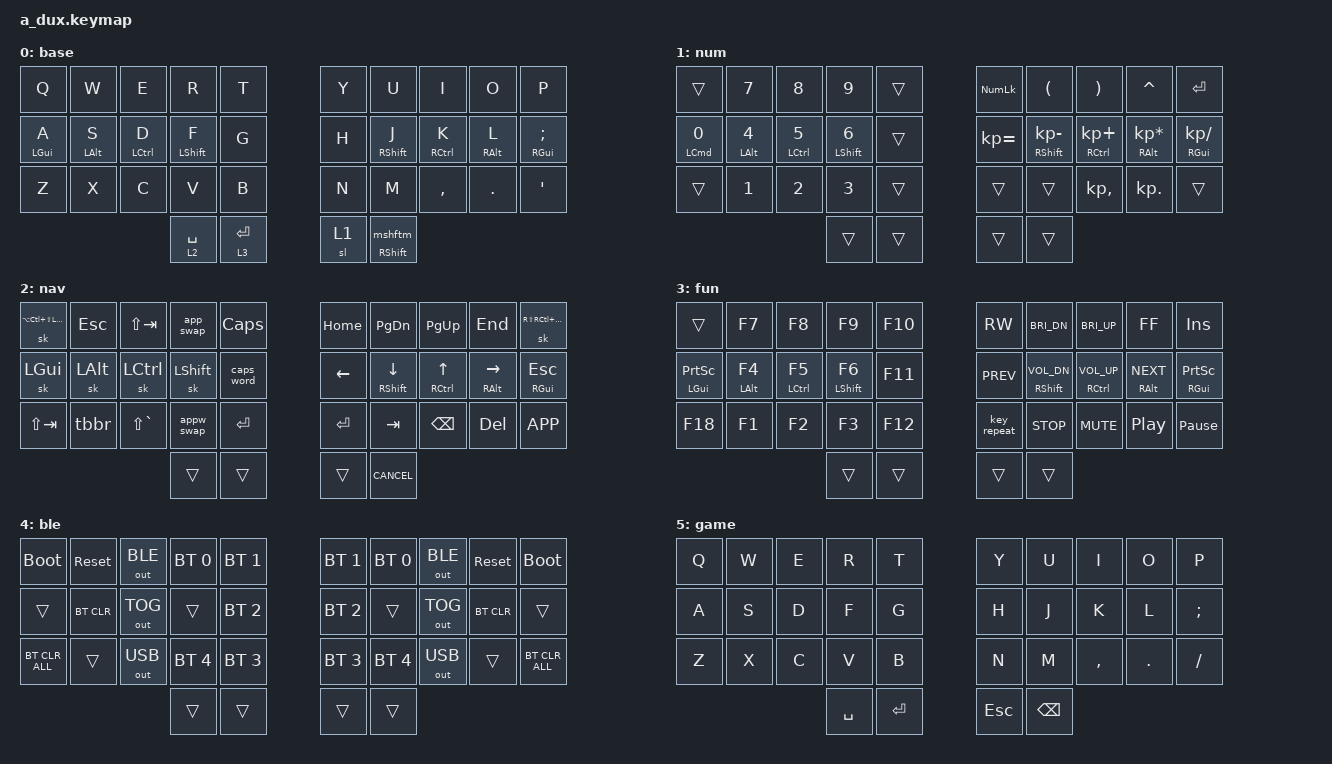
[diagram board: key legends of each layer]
// Copyright (c) 2024 The ZMK Contributors
// SPDX-License-Identifier: MIT

#include <behaviors.dtsi>
#include <dt-bindings/zmk/bt.h>
#include <dt-bindings/zmk/keys.h>
#include <dt-bindings/zmk/outputs.h>

#define QT_MS 180
#define HMR_RPI_MS 175
#define HCMB_RPI_MS 150
#define HCMB_MS 25
#define VCMB_RPI_MS 50
#define VCMB_MS 35
#define TCMB_RPI_MS 50
#define TCMB_MS 25
#define LHYPER LA(LC(LS(LGUI)))
#define RHYPER RS(RC(RA(RGUI)))

#define MSHFT &mshft RSHFT 0
#define LNG F18

&lt {
    tapping-term-ms = <180>;
    quick-tap-ms = <160>;
};

&sk {
    release-after-ms = <900>;
    quick-release;
};

/ {
    behaviors {
        lpht: left_positional_hold_tap {
            compatible = "zmk,behavior-hold-tap";
            #binding-cells = <2>;
            bindings = <&kp>, <&kp>;

            flavor = "tap-preferred";
            tapping-term-ms = <220>;
            quick-tap-ms = <QT_MS>;
            require-prior-idle-ms = <HMR_RPI_MS>;
            hold-trigger-key-positions = <5 6 7 8 9 15 16 17 18 19 25 26 27 28 29 32 33>;
            hold-trigger-on-release;
        };

        rpht: right_positional_hold_tap {
            compatible = "zmk,behavior-hold-tap";
            #binding-cells = <2>;
            bindings = <&kp>, <&kp>;

            flavor = "tap-preferred";
            tapping-term-ms = <220>;
            quick-tap-ms = <QT_MS>;
            require-prior-idle-ms = <HMR_RPI_MS>;
            hold-trigger-key-positions = <0 1 2 3 4 10 11 12 13 14 20 21 22 23 24 30 31>;
            hold-trigger-on-release;
        };

        mshftm: magic_shift_morph {
            compatible = "zmk,behavior-mod-morph";
            #binding-cells = <0>;
            bindings = <&sk RSHFT>, <&caps_word>;
            mods = <(MOD_RSFT)>;
        };

        mshft: magic_shift {
            compatible = "zmk,behavior-hold-tap";
            #binding-cells = <2>;
            bindings = <&kp>, <&mshftm>;

            flavor = "balanced";
            tapping-term-ms = <200>;
            quick-tap-ms = <160>;
            require-prior-idle-ms = <HMR_RPI_MS>;
        };
    };

    app_swap: app_swapper {
        compatible = "zmk,behavior-tri-state";
        #binding-cells = <0>;
        bindings = <&kt LGUI>, <&kp TAB>, <&kt LGUI>;

        ignored-key-positions = <2 16 17 18 19>;
    };

    appw_swap: app_win_swapper {
        compatible = "zmk,behavior-tri-state";
        #binding-cells = <0>;
        bindings = <&kt LGUI>, <&kp GRAVE>, <&kt LGUI>;

        ignored-key-positions = <22 16 17 18 19>;
    };

    tbbr: tabber {
        compatible = "zmk,behavior-tri-state";
        #binding-cells = <0>;
        bindings = <&kt LCTRL>, <&kp TAB>, <&kt LCTRL>;

        ignored-key-positions = <6 16 17 18 19>;
    };

    combos {
        compatible = "zmk,combos";

        c_esc       { bindings = <&kp ESC>;       key-positions = <1 2>;   require-prior-idle-ms = <HCMB_RPI_MS>;  timeout-ms = <HCMB_MS>; };
        c_grave     { bindings = <&kp GRAVE>;     key-positions = <2 3>;   require-prior-idle-ms = <HCMB_RPI_MS>;  timeout-ms = <HCMB_MS>; };
        c_tab       { bindings = <&kp TAB>;       key-positions = <6 7>;   require-prior-idle-ms = <HCMB_RPI_MS>;  timeout-ms = <HCMB_MS>; };
        c_caps      { bindings = <&kp CAPS>;      key-positions = <7 8>;   require-prior-idle-ms = <HCMB_RPI_MS>;  timeout-ms = <HCMB_MS>; };
        c_bslh      { bindings = <&kp BSLH>;      key-positions = <11 12>; require-prior-idle-ms = <HCMB_RPI_MS>;  timeout-ms = <HCMB_MS>; };
        c_equal     { bindings = <&kp EQUAL>;     key-positions = <11 13>; require-prior-idle-ms = <HCMB_RPI_MS>;  timeout-ms = <HCMB_MS>; };
        c_lpar      { bindings = <&kp LPAR>;      key-positions = <12 13>; require-prior-idle-ms = <HCMB_RPI_MS>;  timeout-ms = <HCMB_MS>; };
        c_rlang     { bindings = <&kp LNG>;       key-positions = <12 30>; require-prior-idle-ms = <TCMB_RPI_MS>;  timeout-ms = <TCMB_MS>; };
        c_rpar      { bindings = <&kp RPAR>;      key-positions = <16 17>; require-prior-idle-ms = <HCMB_RPI_MS>;  timeout-ms = <HCMB_MS>; };
        c_minus     { bindings = <&kp MINUS>;     key-positions = <16 18>; require-prior-idle-ms = <HCMB_RPI_MS>;  timeout-ms = <HCMB_MS>; };
        c_fslh      { bindings = <&kp FSLH>;      key-positions = <17 18>; require-prior-idle-ms = <HCMB_RPI_MS>;  timeout-ms = <HCMB_MS>; };
        c_llang     { bindings = <&kp LNG>;       key-positions = <17 33>; require-prior-idle-ms = <TCMB_RPI_MS>;  timeout-ms = <TCMB_MS>; };
        c_del       { bindings = <&kp DEL>;       key-positions = <21 22>; require-prior-idle-ms = <HCMB_RPI_MS>;  timeout-ms = <HCMB_MS>; };
        c_lbkt      { bindings = <&kp LBKT>;      key-positions = <22 23>; require-prior-idle-ms = <HCMB_RPI_MS>;  timeout-ms = <HCMB_MS>; };
        c_llange    { bindings = <&kp LNG>;       key-positions = <21 23>; require-prior-idle-ms = <HCMB_RPI_MS>;  timeout-ms = <HCMB_MS>; };
        c_rbkt      { bindings = <&kp RBKT>;      key-positions = <26 27>; require-prior-idle-ms = <HCMB_RPI_MS>;  timeout-ms = <HCMB_MS>; };
        c_bspc      { bindings = <&kp BSPC>;      key-positions = <27 28>; require-prior-idle-ms = <HCMB_RPI_MS>;  timeout-ms = <HCMB_MS>; };
        c_rlange    { bindings = <&kp LNG>;       key-positions = <26 28>; require-prior-idle-ms = <HCMB_RPI_MS>;  timeout-ms = <HCMB_MS>; };
        c_lgame     { bindings = <&tog 5>;        key-positions = <20 24>; require-prior-idle-ms = <HCMB_RPI_MS>;  timeout-ms = <HCMB_MS>; };
        c_rgame     { bindings = <&tog 5>;        key-positions = <25 29>; require-prior-idle-ms = <HCMB_RPI_MS>;  timeout-ms = <HCMB_MS>; };
        c_lhyper    { bindings = <&sk LHYPER>;    key-positions = <12 14>; require-prior-idle-ms = <HCMB_RPI_MS>;  timeout-ms = <HCMB_MS>; };
        c_rhyper    { bindings = <&sk RHYPER>;    key-positions = <15 17>; require-prior-idle-ms = <HCMB_RPI_MS>;  timeout-ms = <HCMB_MS>; };
        c_lhyper2   { bindings = <&sk LHYPER>;    key-positions = <12 23>; require-prior-idle-ms = <VCMB_RPI_MS>;  timeout-ms = <VCMB_MS>; };
        c_rhyper2   { bindings = <&sk RHYPER>;    key-positions = <17 26>; require-prior-idle-ms = <VCMB_RPI_MS>;  timeout-ms = <VCMB_MS>; };

        c_excl      { bindings = <&kp EXCL>;      key-positions = <1 11>;  require-prior-idle-ms = <VCMB_RPI_MS>;  timeout-ms = <VCMB_MS>; };
        c_at        { bindings = <&kp AT>;        key-positions = <2 12>;  require-prior-idle-ms = <VCMB_RPI_MS>;  timeout-ms = <VCMB_MS>; };
        c_hash      { bindings = <&kp HASH>;      key-positions = <3 13>;  require-prior-idle-ms = <VCMB_RPI_MS>;  timeout-ms = <VCMB_MS>; };
        c_dllr      { bindings = <&kp DLLR>;      key-positions = <4 14>;  require-prior-idle-ms = <VCMB_RPI_MS>;  timeout-ms = <VCMB_MS>; };
        c_prcnt     { bindings = <&kp PRCNT>;     key-positions = <5 15>;  require-prior-idle-ms = <VCMB_RPI_MS>;  timeout-ms = <VCMB_MS>; };
        c_caret     { bindings = <&kp CARET>;     key-positions = <6 16>;  require-prior-idle-ms = <VCMB_RPI_MS>;  timeout-ms = <VCMB_MS>; };
        c_amps      { bindings = <&kp AMPS>;      key-positions = <7 17>;  require-prior-idle-ms = <VCMB_RPI_MS>;  timeout-ms = <VCMB_MS>; };
        c_star      { bindings = <&kp STAR>;      key-positions = <8 18>;  require-prior-idle-ms = <VCMB_RPI_MS>;  timeout-ms = <VCMB_MS>; };

        c_cut       { bindings = <&kp LG(X)>;     key-positions = <11 21>; require-prior-idle-ms = <VCMB_RPI_MS>;  timeout-ms = <VCMB_MS>; };
        c_copy      { bindings = <&kp LG(C)>;     key-positions = <12 22>; require-prior-idle-ms = <VCMB_RPI_MS>;  timeout-ms = <VCMB_MS>; };
        c_paste     { bindings = <&kp LG(V)>;     key-positions = <13 23>; require-prior-idle-ms = <VCMB_RPI_MS>;  timeout-ms = <VCMB_MS>; };
        c_undo      { bindings = <&kp LG(Z)>;     key-positions = <14 24>; require-prior-idle-ms = <VCMB_RPI_MS>;  timeout-ms = <VCMB_MS>; };
        c_redo      { bindings = <&kp LG(LS(Z))>; key-positions = <15 25>; require-prior-idle-ms = <VCMB_RPI_MS>;  timeout-ms = <VCMB_MS>; };
    };

    keymap {
        compatible = "zmk,keymap";

        base {
            bindings = <
&kp Q         &kp W         &kp E          &kp R          &kp T                              &kp Y   &kp U          &kp I          &kp O         &kp P
&lpht LGUI A  &lpht LALT S  &lpht LCTRL D  &lpht LSHFT F  &kp G                              &kp H   &rpht RSHFT J  &rpht RCTRL K  &rpht RALT L  &rpht RGUI SEMI
&kp Z         &kp X         &kp C          &kp V          &kp B                              &kp N   &kp M          &kp COMMA      &kp DOT       &kp SQT
                                                          &lt 2 SPACE  &lt 3 ENTER    &sl 1  MSHFT
            >;
        };

        num {
            bindings = <
&trans         &kp N7             &kp N8          &kp N9          &trans                    &kp KP_NUMLOCK  &kp LPAR              &kp RPAR              &kp CARET               &kp ENTER
&lpht LCMD N0  &lpht LEFT_ALT N4  &lpht LCTRL N5  &lpht LSHFT N6  &trans                    &kp KP_EQUAL    &rpht RSHFT KP_MINUS  &rpht RCTRL KP_PLUS   &rpht RALT KP_MULTIPLY  &rpht RGUI KP_DIVIDE
&trans         &kp N1             &kp N2          &kp N3          &trans                    &trans          &trans                &kp KP_COMMA          &kp KP_DOT              &trans
                                                                  &trans  &trans    &trans  &trans
            >;
        };

        nav {
            bindings = <
&sk LHYPER   &kp ESC     &kp LS(TAB)    &app_swap   &kp CAPS                      &kp HOME      &kp PG_DN         &kp PG_UP       &kp END           &sk RHYPER
&sk LGUI     &sk LALT    &sk LCTRL      &sk LSHFT   &caps_word                    &kp LEFT      &rpht RSHFT DOWN  &rpht RCTRL UP  &rpht RALT RIGHT  &rpht RGUI ESC
&kp LS(TAB)  &tbbr       &kp LS(GRAVE)  &appw_swap  &kp ENTER                     &kp ENTER     &kp TAB           &kp BSPC        &kp DEL           &kp K_APP
                                                    &trans  &trans        &trans  &kp K_CANCEL
            >;
        };

        fun {
            bindings = <
&trans            &kp F7         &kp F8          &kp F9          &kp F10                    &kp C_RW         &kp C_BRI_DN          &kp C_BRI_UP          &kp C_FF           &kp INS
&lpht LGUI PSCRN  &lpht LALT F4  &lpht LCTRL F5  &lpht LSHFT F6  &kp F11                    &kp C_PREV       &rpht RSHFT C_VOL_DN  &rpht RCTRL C_VOL_UP  &rpht RALT C_NEXT  &rpht RGUI PSCRN
&kp LNG           &kp F1         &kp F2          &kp F3          &kp F12                    &key_repeat      &kp C_STOP            &kp C_MUTE            &kp C_PP           &kp PAUSE_BREAK
                                                                 &trans   &trans    &trans  &trans
            >;
        };

        ble {
            bindings = <
&bootloader     &sys_reset  &out OUT_BLE  &bt BT_SEL 0  &bt BT_SEL 1                    &bt BT_SEL 1  &bt BT_SEL 0  &out OUT_BLE  &sys_reset  &bootloader
&trans          &bt BT_CLR  &out OUT_TOG  &trans        &bt BT_SEL 2                    &bt BT_SEL 2  &trans        &out OUT_TOG  &bt BT_CLR  &trans
&bt BT_CLR_ALL  &trans      &out OUT_USB  &bt BT_SEL 4  &bt BT_SEL 3                    &bt BT_SEL 3  &bt BT_SEL 4  &out OUT_USB  &trans      &bt BT_CLR_ALL
                                                        &trans        &trans    &trans  &trans
            >;
        };

        game {
            bindings = <
&kp Q  &kp W  &kp E  &kp R  &kp T                               &kp Y     &kp U  &kp I      &kp O    &kp P
&kp A  &kp S  &kp D  &kp F  &kp G                               &kp H     &kp J  &kp K      &kp L    &kp SEMI
&kp Z  &kp X  &kp C  &kp V  &kp B                               &kp N     &kp M  &kp COMMA  &kp DOT  &kp FSLH
                            &kp SPACE  &kp ENTER    &kp ESCAPE  &kp BSPC
            >;
        };
    };

    conditional_layers {
        compatible = "zmk,conditional-layers";

        to_ble {
            if-layers = <3 1>;
            then-layer = <4>;
        };
    };
};
